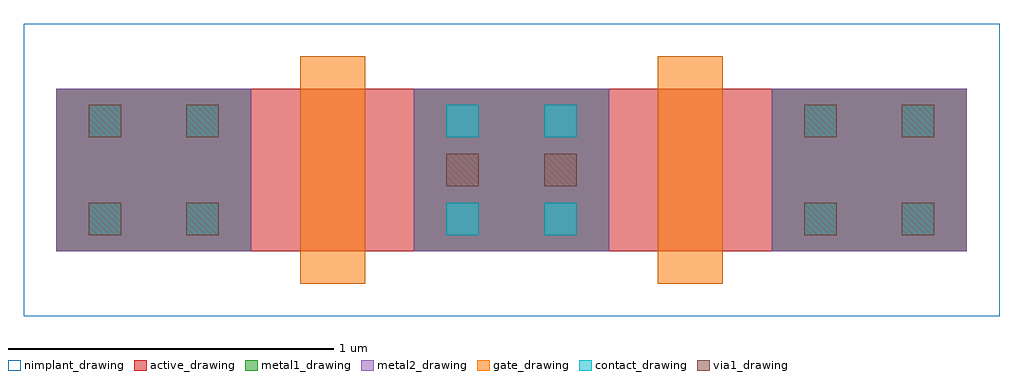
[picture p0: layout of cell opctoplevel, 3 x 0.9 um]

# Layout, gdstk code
import gdstk
lib = gdstk.Library(unit=1e-6, precision=1e-09)
def R(c, l, rs):  # rectangles x0, y0, x1, y1
    for r in rs: c.add(gdstk.rectangle(r[:2], r[2:], *l))
def A(c, l, x, y, w, h, nx, ny, dx, dy):  # array of equal rectangles
    R(c, l, [(x+i*dx, y+j*dy, x+i*dx+w, y+j*dy+h) for i in range(nx) for j in range(ny)])
active_drawing = (1, 0)
nimplant_drawing = (5, 0)
gate_drawing = (6, 0)
contact_drawing = (7, 0)
metal1_drawing = (8, 0)
via1_drawing = (9, 0)
metal2_drawing = (10, 0)

opctoplevel = lib.new_cell('opctoplevel')
R(opctoplevel, active_drawing, [(-0.75,0,2.05,0.5)])
R(opctoplevel, nimplant_drawing, [(-0.85,-0.2,2.15,0.7)])
R(opctoplevel, gate_drawing, [(0,-0.1,0.2,0.6), (1.1,-0.1,1.3,0.6)])
R(opctoplevel, contact_drawing, [(-0.65,0.05,-0.55,0.15), (-0.35,0.05,-0.25,0.15), (0.45,0.05,0.55,0.15), (0.75,0.05,0.85,0.15), (1.55,0.05,1.65,0.15), (1.85,0.05,1.95,0.15), (-0.65,0.35,-0.55,0.45), (-0.35,0.35,-0.25,0.45), (0.45,0.35,0.55,0.45), (0.75,0.35,0.85,0.45), (1.55,0.35,1.65,0.45), (1.85,0.35,1.95,0.45)])
A(opctoplevel, metal1_drawing, -0.75, 0, 0.6, 0.5, 3, 1, 1.1, 0)
R(opctoplevel, via1_drawing, [(-0.65,0.05,-0.55,0.15), (-0.35,0.05,-0.25,0.15), (1.55,0.05,1.65,0.15), (1.85,0.05,1.95,0.15), (0.45,0.2,0.55,0.3), (0.75,0.2,0.85,0.3), (-0.65,0.35,-0.55,0.45), (-0.35,0.35,-0.25,0.45), (1.55,0.35,1.65,0.45), (1.85,0.35,1.95,0.45)])
A(opctoplevel, metal2_drawing, -0.75, 0, 0.6, 0.5, 3, 1, 1.1, 0)

lib.write_gds('opctoplevel.gds')
